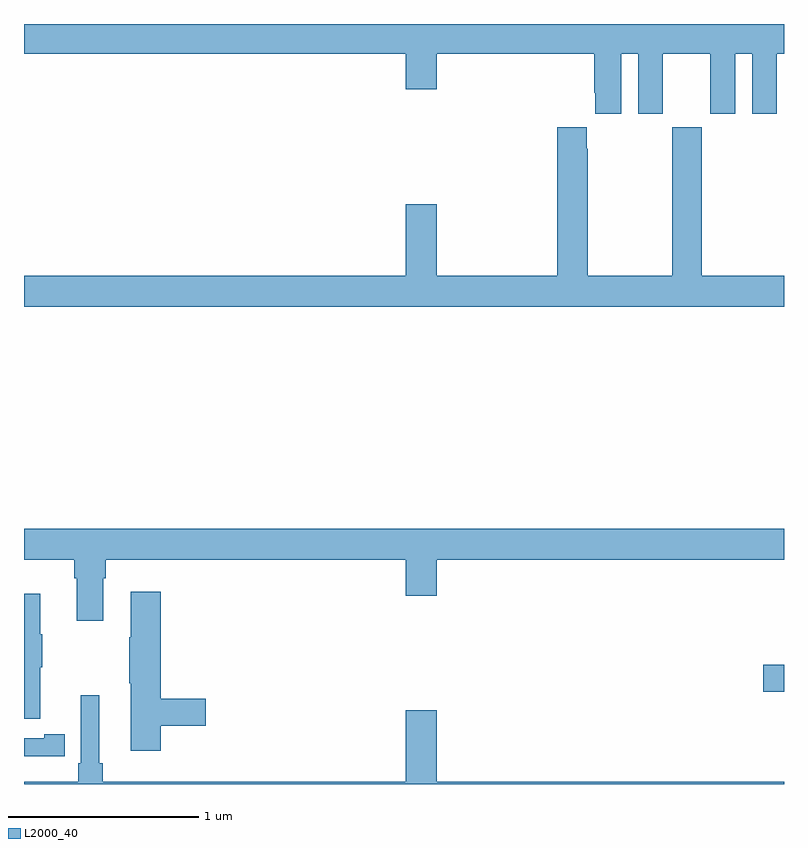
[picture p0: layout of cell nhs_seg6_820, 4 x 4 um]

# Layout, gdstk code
import gdstk
lib = gdstk.Library(unit=1e-6, precision=1e-09)
def R(c, l, rs):  # rectangles x0, y0, x1, y1
    for r in rs: c.add(gdstk.rectangle(r[:2], r[2:], *l))
def P(c, l, *ps):  # polygons
    for p in ps: c.add(gdstk.Polygon(p, *l))
L2000_40 = (2000, 40)

nhs_seg6_820 = lib.new_cell('nhs_seg6_820')
R(nhs_seg6_820, L2000_40, [(166.89,935.986,167,936.128)])
P(nhs_seg6_820, L2000_40, [(166.144,939.344),(166.232,939.344),(166.232,939.027),(166.363,939.027),(166.363,939.344),(166.613,939.344),(166.613,939.027),(166.744,939.027),(166.744,939.344),(166.832,939.344),(166.832,939.027),(166.963,939.027),(166.963,939.344),(167,939.344),(167,939.5),(163,939.5),(163,939.344),(165.008,939.344),(165.008,939.156),(165.172,939.156),(165.172,939.344),(166.001,939.344),(166.001,939.139),(166.007,939.139),(166.007,939.027),(166.144,939.027)],
  [(167,938.176),(166.566,938.176),(166.566,938.956),(166.411,938.956),(166.411,938.176),(165.966,938.176),(165.966,938.843),(165.961,938.843),(165.961,938.956),(165.806,938.956),(165.806,938.176),(165.172,938.176),(165.172,938.551),(165.008,938.551),(165.008,938.176),(163,938.176),(163,938.012),(167,938.012)],
  [(163.417,936.584),(163.43,936.584),(163.43,936.68),(165.008,936.68),(165.008,936.492),(165.172,936.492),(165.172,936.68),(167,936.68),(167,936.844),(163,936.844),(163,936.68),(163.265,936.68),(163.265,936.584),(163.277,936.584),(163.277,936.36),(163.417,936.36)],
  [(163.721,935.806),(163.957,935.806),(163.957,935.948),(163.721,935.948),(163.721,936.511),(163.562,936.511),(163.562,936.272),(163.555,936.272),(163.555,936.031),(163.562,936.031),(163.562,935.676),(163.721,935.676)],
  [(163.085,936.115),(163.096,936.115),(163.096,936.289),(163.085,936.289),(163.085,936.502),(163,936.502),(163,935.844),(163.085,935.844)],
  [(167,935.512),(165.172,935.512),(165.172,935.887),(165.008,935.887),(165.008,935.512),(163.415,935.512),(163.415,935.608),(163.396,935.608),(163.396,935.968),(163.299,935.968),(163.299,935.608),(163.286,935.608),(163.286,935.512),(163,935.512),(163,935.5),(167,935.5)],
  [(163.106,935.646),(163.214,935.646),(163.214,935.762),(163.106,935.762),(163.106,935.742),(163,935.742),(163,935.645),(163.106,935.645)])

lib.write_gds('nhs_seg6_820.gds')
